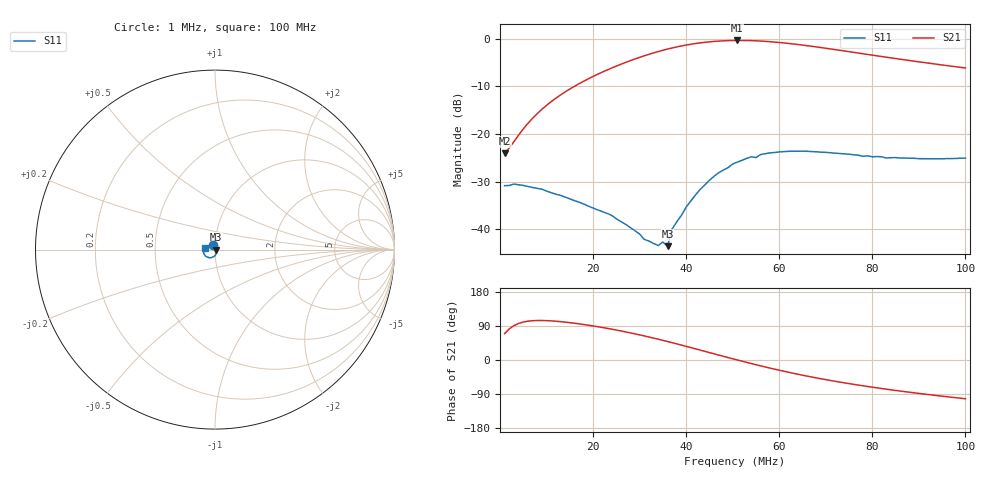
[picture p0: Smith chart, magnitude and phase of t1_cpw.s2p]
# HZ S RI R 50
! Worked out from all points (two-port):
!   100 points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, 1 MHz to 100 MHz, reference 50 ohm
!   highest |S21| = -0.39 dB at 51 MHz (marker M1); lowest = -24.1 dB at 1 MHz (marker M2)
!   |S21| within 3 dB of the highest: 31.73 MHz to 79.43 MHz (47.7 MHz wide, 85.8 % of centre)
!   lowest |S11| = -43.6 dB at 36 MHz (marker M3), VSWR 1.01, Z = 50.7 + j0.0548 ohm
!   |S11| at or under -10 dB: start of sweep to end of sweep
!   S12 and S22 are empty: the file has one direction only
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1000001  -0.0102 0.0267  0.0216 0.0586  0 0  0 0
3000001  -0.0111 0.0276  -0.00114 0.0829  0 0  0 0
6000001  -0.00684 0.0272  -0.0277 0.1257  0 0  0 0
9000001  -0.00529 0.0258  -0.0445 0.1756  0 0  0 0
1.8e7  -0.00214 0.0182  -0.0227 0.3566  0 0  0 0
2.6e7  0.00049 0.012  0.1246 0.5237  0 0  0 0
3.1e7  0.00365 0.0069  0.2939 0.5907  0 0  0 0
3.4e7  0.00635 0.0022  0.4209 0.598  0 0  0 0
3.5e7  0.00733 0.000152  0.4658 0.5927  0 0  0 0
3.6e7  0.00661 0.000541  0.5127 0.5847  0 0  0 0
3.7e7  0.00873 -0.00499  0.5577 0.5703  0 0  0 0
4.2e7  0.00715 -0.0217  0.7728 0.4368  0 0  0 0
4.6e7  -0.00271 -0.0358  0.8968 0.2622  0 0  0 0
5.1e7  -0.0232 -0.045  0.9565 0.000818  0 0  0 0
5.5e7  -0.039 -0.0408  0.9258 -0.205  0 0  0 0
5.9e7  -0.0537 -0.0344  0.8395 -0.3763  0 0  0 0
6.3e7  -0.0612 -0.024  0.72 -0.5038  0 0  0 0
6.7e7  -0.0637 -0.0137  0.5877 -0.5869  0 0  0 0
7.4e7  -0.0617 -0.00132  0.3679 -0.6444  0 0  0 0
8.4e7  -0.056 0.00543  0.1238 -0.6152  0 0  0 0
9.1e7  -0.0544 0.00763  0.00318 -0.5621  0 0  0 0
1e8  -0.0548 0.00912  -0.1044 -0.4808  0 0  0 0
